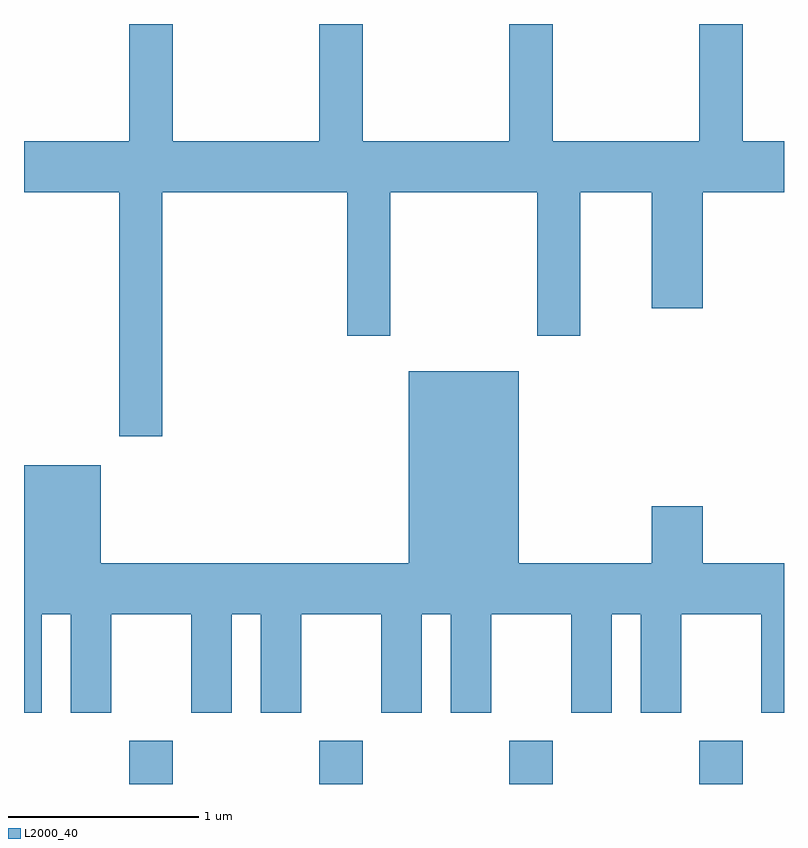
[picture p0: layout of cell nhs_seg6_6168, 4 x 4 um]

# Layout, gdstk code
import gdstk
lib = gdstk.Library(unit=1e-6, precision=1e-09)
def R(c, l, rs):  # rectangles x0, y0, x1, y1
    for r in rs: c.add(gdstk.rectangle(r[:2], r[2:], *l))
def A(c, l, x, y, w, h, nx, ny, dx, dy):  # array of equal rectangles
    R(c, l, [(x+i*dx, y+j*dy, x+i*dx+w, y+j*dy+h) for i in range(nx) for j in range(ny)])
def P(c, l, *ps):  # polygons
    for p in ps: c.add(gdstk.Polygon(p, *l))
L2000_40 = (2000, 40)

nhs_seg6_6168 = lib.new_cell('nhs_seg6_6168')
A(nhs_seg6_6168, L2000_40, 372.166, 1640.162, 0.228, 0.227, 4, 1, 1, 0)
P(nhs_seg6_6168, L2000_40, [(372.339,1643.276),(373.311,1643.276),(373.311,1642.521),(373.539,1642.521),(373.539,1643.276),(374.311,1643.276),(374.311,1642.521),(374.539,1642.521),(374.539,1643.276),(374.916,1643.276),(374.916,1642.666),(375.184,1642.666),(375.184,1643.276),(375.611,1643.276),(375.611,1643.544),(375.394,1643.544),(375.394,1644.162),(375.166,1644.162),(375.166,1643.544),(374.394,1643.544),(374.394,1644.162),(374.166,1644.162),(374.166,1643.544),(373.394,1643.544),(373.394,1644.162),(373.166,1644.162),(373.166,1643.544),(372.394,1643.544),(372.394,1644.162),(372.166,1644.162),(372.166,1643.544),(371.611,1643.544),(371.611,1643.276),(372.111,1643.276),(372.111,1641.991),(372.339,1641.991)],
  [(371.704,1641.056),(371.856,1641.056),(371.856,1640.536),(372.069,1640.536),(372.069,1641.056),(372.491,1641.056),(372.491,1640.536),(372.704,1640.536),(372.704,1641.056),(372.856,1641.056),(372.856,1640.536),(373.069,1640.536),(373.069,1641.056),(373.491,1641.056),(373.491,1640.536),(373.704,1640.536),(373.704,1641.056),(373.856,1641.056),(373.856,1640.536),(374.069,1640.536),(374.069,1641.056),(374.491,1641.056),(374.491,1640.536),(374.704,1640.536),(374.704,1641.056),(374.856,1641.056),(374.856,1640.536),(375.069,1640.536),(375.069,1641.056),(375.491,1641.056),(375.491,1640.536),(375.611,1640.536),(375.611,1641.324),(375.184,1641.324),(375.184,1641.624),(374.916,1641.624),(374.916,1641.324),(374.214,1641.324),(374.214,1642.334),(373.636,1642.334),(373.636,1641.324),(372.014,1641.324),(372.014,1641.839),(371.611,1641.839),(371.611,1640.536),(371.704,1640.536)])

lib.write_gds('nhs_seg6_6168.gds')
